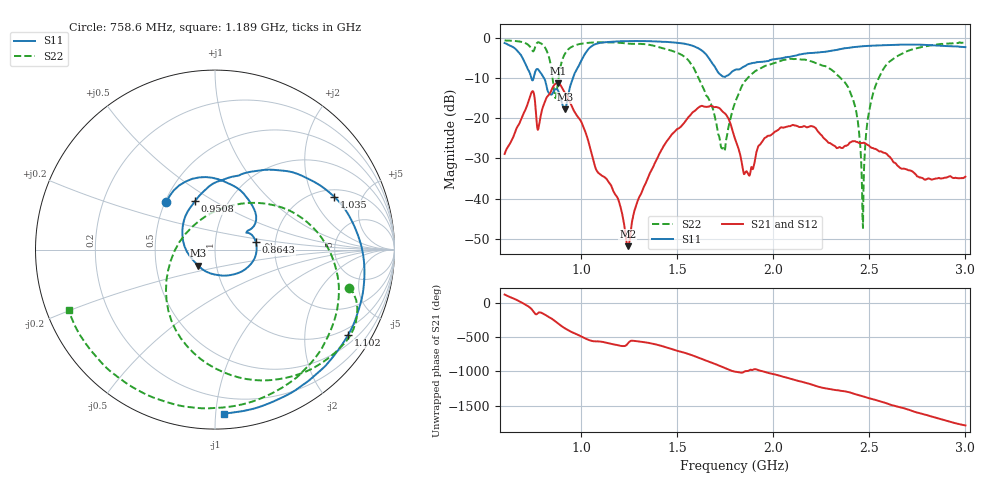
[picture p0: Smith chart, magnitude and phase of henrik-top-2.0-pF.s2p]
#  HZ  S  RI  R  50.00
! Rohde & Schwarz ZVB8 2Ports - Version 2.81 - 1145.1010k08 SN: 100113
! Date: 2016-04-20 02:59:12
! Measurements: S11 S21 S12 S22
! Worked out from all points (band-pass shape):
!   1000 points, 600 MHz to 3 GHz, reference 50 ohm
!   highest |S21| = -11.19 dB at 876.3 MHz (marker M1); lowest = -51.9 dB at 1.241 GHz (marker M2)
!   |S21| within 3 dB of the highest: 734.9 MHz to 754 MHz (19.06 MHz wide, 2.56 % of centre); 829 MHz to 921.8 MHz (92.76 MHz wide, 10.6 % of centre)
!   lowest |S11| = -17.8 dB at 914.7 MHz (marker M3), VSWR 1.30, Z = 40.9 - j7.52 ohm
!   |S11| at or under -10 dB: 739.9 MHz to 750.5 MHz (10.57 MHz wide, 1.42 % of centre); 806.1 MHz to 955.4 MHz (149.4 MHz wide, 17 % of centre)
!   |S22| runs from -47.4 to -0.5 dB; largest |S21 - S12| = 0.0031
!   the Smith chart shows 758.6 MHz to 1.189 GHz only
!   S11 on the Smith chart (normalised r, x): 758.6 MHz: 0.51, +0.31; 864.3 MHz: 1.58, +0.14; 950.8 MHz: 0.70, +0.42; 1.035 GHz: 2.36, +2.94; 1.102 GHz: 0.76, -3.24; 1.189 GHz: 0.09, -1.05
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6e8  0.7799 0.392  -0.0182 0.0311  -0.0182 0.0311  0.558 0.7569
6.720721e8  0.1355 -0.6585  0.0731 0.038  0.0731 0.038  0.8796 0.2569
7.585586e8  -0.2707 0.2625  -0.1475 -0.0625  -0.1471 -0.0618  0.7453 -0.2112
8.138138e8  0.2291 0.1648  -0.1712 -0.00349  -0.1715 -0.00332  0.177 -0.7215
8.642643e8  0.2275 0.0425  8.6e-05 0.2696  3.43e-05 0.2697  -0.1274 0.1264
8.762763e8  0.2218 -0.046  0.1216 0.2475  0.1217 0.2472  0.0976 0.2469
9.147147e8  -0.0926 -0.0904  0.2045 -0.0432  0.2047 -0.0434  0.6443 -0.0206
9.507508e8  -0.1104 0.2713  0.0517 -0.1311  0.0517 -0.1311  0.6462 -0.4456
1.001201e9  0.301 0.4453  -0.0613 -0.0642  -0.0612 -0.0641  0.3539 -0.7808
1.034835e9  0.6632 0.2955  -0.0532 -0.00222  -0.0532 -0.00227  0.0975 -0.8731
1.102102e9  0.741 -0.4769  -0.0177 0.00861  -0.0176 0.00864  -0.3988 -0.7997
1.188589e9  0.048 -0.9137  -0.00231 0.0099  -0.00237 0.00998  -0.815 -0.339
1.241441e9  -0.4053 -0.8294  -0.00152 0.00204  -0.00151 0.00207  -0.8582 0.0369
1.4e9  -0.884 0.2237  -0.00925 0.0322  -0.00922 0.0322  -0.0879 0.7762
1.52973e9  -0.2243 0.832  0.0845 -0.00307  0.0845 -0.00313  0.5754 0.1901
1.736336e9  0.2751 0.1888  -0.0973 0.0726  -0.0975 0.0723  -0.017 -0.0386
1.801201e9  0.3302 0.2357  0.0126 0.0533  0.0126 0.0532  -0.1539 -0.0418
2.2e9  0.1035 -0.6486  -0.0293 -0.0744  -0.0294 -0.0743  0.3518 -0.375
2.396997e9  -0.6348 -0.427  -0.0355 0.0348  -0.0355 0.0348  -0.141 -0.1711
2.464264e9  -0.7872 -0.1208  0.00824 0.0486  0.00841 0.0485  -0.00378 -0.00404
2.601201e9  -0.625 0.5357  0.0273 -0.0197  0.0273 -0.0198  0.2252 -0.4496
3e9  0.7752 -0.0316  0.0182 0.00433  0.0181 0.00432  -0.5461 0.6931
